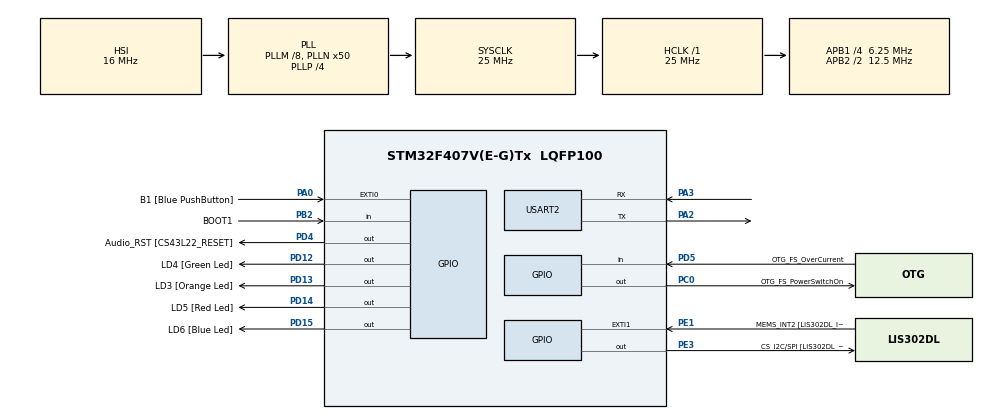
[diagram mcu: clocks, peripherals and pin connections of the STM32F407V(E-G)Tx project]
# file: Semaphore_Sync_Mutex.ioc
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Mcu.Family=STM32F4
Mcu.Name=STM32F407V(E-G)Tx
Mcu.Package=LQFP100
NVIC.PriorityGroup=NVIC_PRIORITYGROUP_4
NVIC.TIM6_DAC_IRQn=true\:0\:0\:false\:false\:true\:false\:true\:true
NVIC.TimeBase=TIM6_DAC_IRQn
NVIC.TimeBaseIP=TIM6
NVIC.USART2_IRQn=true\:6\:0\:true\:false\:true\:true\:true\:true
PA0-WKUP.GPIO_Label=B1 [Blue PushButton]
PA0-WKUP.Signal=GPXTI0
PA10.GPIO_Label=OTG_FS_ID
PA10.GPIO_Mode=GPIO_MODE_AF_PP
PA10.GPIO_PuPd=GPIO_NOPULL
PA10.GPIO_Speed=GPIO_SPEED_FREQ_LOW
PA10.Signal=USB_OTG_FS_ID
PA11.GPIO_Label=OTG_FS_DM
PA11.GPIO_Mode=GPIO_MODE_AF_PP
PA11.GPIO_PuPd=GPIO_NOPULL
PA11.GPIO_Speed=GPIO_SPEED_FREQ_LOW
PA11.Signal=USB_OTG_FS_DM
PA12.GPIO_Label=OTG_FS_DP
PA12.GPIO_Mode=GPIO_MODE_AF_PP
PA12.GPIO_PuPd=GPIO_NOPULL
PA12.GPIO_Speed=GPIO_SPEED_FREQ_LOW
PA12.Signal=USB_OTG_FS_DP
PA13.GPIO_Label=SWDIO
PA13.Signal=SYS_JTMS-SWDIO
PA14.GPIO_Label=SWCLK
PA14.Signal=SYS_JTCK-SWCLK
PA2.Mode=Asynchronous
PA2.Signal=USART2_TX
PA3.Mode=Asynchronous
PA3.Signal=USART2_RX
PA4.GPIO_Label=I2S3_WS [CS43L22_LRCK]
PA4.GPIO_Mode=GPIO_MODE_AF_PP
PA4.GPIO_PuPd=GPIO_NOPULL
PA4.GPIO_Speed=GPIO_SPEED_FREQ_LOW
PA4.Signal=I2S3_WS
PA5.GPIO_Label=SPI1_SCK [LIS302DL_SCL/SPC]
PA5.GPIO_Mode=GPIO_MODE_AF_PP
PA5.GPIO_PuPd=GPIO_NOPULL
PA5.GPIO_Speed=GPIO_SPEED_FREQ_LOW
PA5.Signal=SPI1_SCK
PA6.GPIO_Label=SPI1_MISO [LIS302DL_SDO]
PA6.GPIO_Mode=GPIO_MODE_AF_PP
PA6.GPIO_PuPd=GPIO_NOPULL
PA6.GPIO_Speed=GPIO_SPEED_FREQ_LOW
PA6.Signal=SPI1_MISO
PA7.GPIO_Label=SPI1_MOSI [LIS302DL_SDA/SDI/SDO]
PA7.GPIO_Mode=GPIO_MODE_AF_PP
PA7.GPIO_PuPd=GPIO_NOPULL
PA7.GPIO_Speed=GPIO_SPEED_FREQ_LOW
PA7.Signal=SPI1_MOSI
PA9.GPIO_Label=VBUS_FS
PA9.GPIO_Mode=GPIO_MODE_INPUT
PA9.GPIO_PuPd=GPIO_NOPULL
PA9.Signal=USB_OTG_FS_VBUS
PB10.GPIO_Label=CLK_IN [MP45DT02_CLK]
PB10.GPIO_Mode=GPIO_MODE_AF_PP
PB10.GPIO_PuPd=GPIO_NOPULL
PB10.GPIO_Speed=GPIO_SPEED_FREQ_LOW
PB10.Signal=I2S2_CK
PB2.GPIO_Label=BOOT1
PB2.GPIO_Mode=GPIO_MODE_INPUT
PB2.GPIO_PuPd=GPIO_NOPULL
PB2.Signal=GPIO_Input
PB3.GPIO_Label=SWO
PB3.Signal=SYS_JTDO-SWO
PB6.GPIO_Label=Audio_SCL [CS43L22_SCL]
PB6.GPIO_Mode=GPIO_MODE_AF_OD
PB6.GPIO_PuPd=GPIO_NOPULL
PB6.GPIO_Speed=GPIO_SPEED_FREQ_LOW
PB6.Signal=I2C1_SCL
PB9.GPIO_Label=Audio_SDA [CS43L22_SDA]
PB9.GPIO_Mode=GPIO_MODE_AF_OD
PB9.GPIO_PuPd=GPIO_NOPULL
PB9.GPIO_Speed=GPIO_SPEED_FREQ_LOW
PB9.Signal=I2C1_SDA
PC0.GPIO_Label=OTG_FS_PowerSwitchOn
PC0.GPIO_PuPd=GPIO_NOPULL
PC0.GPIO_Speed=GPIO_SPEED_FREQ_LOW
PC0.PinState=GPIO_PIN_SET
PC0.Signal=GPIO_Output
PC10.GPIO_Label=I2S3_SCK [CS43L22_SCLK]
PC10.GPIO_Mode=GPIO_MODE_AF_PP
PC10.GPIO_PuPd=GPIO_NOPULL
PC10.GPIO_Speed=GPIO_SPEED_FREQ_LOW
PC10.Signal=I2S3_CK
PC12.GPIO_Label=I2S3_SD [CS43L22_SDIN]
PC12.GPIO_Mode=GPIO_MODE_AF_PP
PC12.GPIO_PuPd=GPIO_NOPULL
PC12.GPIO_Speed=GPIO_SPEED_FREQ_LOW
PC12.Signal=I2S3_SD
PC14-OSC32_IN.GPIO_Label=PC14-OSC32_IN
PC14-OSC32_IN.Signal=RCC_OSC32_IN
PC15-OSC32_OUT.GPIO_Label=PC15-OSC32_OUT
PC15-OSC32_OUT.Signal=RCC_OSC32_OUT
PC3.GPIO_Label=PDM_OUT [MP45DT02_DOUT]
PC3.GPIO_Mode=GPIO_MODE_AF_PP
PC3.GPIO_PuPd=GPIO_NOPULL
PC3.GPIO_Speed=GPIO_SPEED_FREQ_LOW
PC3.Signal=I2S2_SD
PC7.GPIO_Label=I2S3_MCK [CS43L22_MCLK]
PC7.GPIO_Mode=GPIO_MODE_AF_PP
PC7.GPIO_PuPd=GPIO_NOPULL
PC7.GPIO_Speed=GPIO_SPEED_FREQ_LOW
PC7.Signal=I2S3_MCK
PD12.GPIO_Label=LD4 [Green Led]
PD12.GPIO_PuPd=GPIO_NOPULL
PD12.GPIO_Speed=GPIO_SPEED_FREQ_LOW
PD12.Signal=GPIO_Output
PD13.GPIO_Label=LD3 [Orange Led]
PD13.GPIO_PuPd=GPIO_NOPULL
PD13.GPIO_Speed=GPIO_SPEED_FREQ_LOW
PD13.Signal=GPIO_Output
PD14.GPIO_Label=LD5 [Red Led]
PD14.GPIO_PuPd=GPIO_NOPULL
PD14.GPIO_Speed=GPIO_SPEED_FREQ_LOW
PD14.Signal=GPIO_Output
PD15.GPIO_Label=LD6 [Blue Led]
PD15.GPIO_PuPd=GPIO_NOPULL
PD15.GPIO_Speed=GPIO_SPEED_FREQ_LOW
PD15.Signal=GPIO_Output
PD4.GPIO_Label=Audio_RST [CS43L22_RESET]
PD4.GPIO_PuPd=GPIO_NOPULL
PD4.GPIO_Speed=GPIO_SPEED_FREQ_LOW
PD4.Signal=GPIO_Output
PD5.GPIO_Label=OTG_FS_OverCurrent
PD5.GPIO_Mode=GPIO_MODE_INPUT
PD5.GPIO_PuPd=GPIO_NOPULL
PD5.Signal=GPIO_Input
PE1.GPIO_Label=MEMS_INT2 [LIS302DL_INT2]
PE1.GPIO_ModeDefaultEXTI=GPIO_MODE_EVT_RISING
PE1.GPIO_PuPd=GPIO_NOPULL
PE1.Signal=GPXTI1
PE3.GPIO_Label=CS_I2C/SPI [LIS302DL_CS_I2C/SPI]
PE3.GPIO_PuPd=GPIO_NOPULL
PE3.GPIO_Speed=GPIO_SPEED_FREQ_LOW
PE3.Signal=GPIO_Output
PH0-OSC_IN.GPIO_Label=PH0-OSC_IN
PH0-OSC_IN.Signal=RCC_OSC_IN
PH1-OSC_OUT.GPIO_Label=PH1-OSC_OUT
PH1-OSC_OUT.Signal=RCC_OSC_OUT
ProjectManager.HeapSize=0x200
ProjectManager.StackSize=0x400
ProjectManager.TargetToolchain=STM32CubeIDE
RCC.48MHZClocksFreq_Value=14285714.285714285
RCC.AHBFreq_Value=25000000
RCC.APB1CLKDivider=RCC_HCLK_DIV4
RCC.APB1Freq_Value=6250000
RCC.APB1TimFreq_Value=12500000
RCC.APB2CLKDivider=RCC_HCLK_DIV2
RCC.APB2Freq_Value=12500000
RCC.APB2TimFreq_Value=25000000
RCC.CortexFreq_Value=25000000
RCC.HCLKFreq_Value=25000000
RCC.HSE_VALUE=8000000
RCC.HSI_VALUE=16000000
RCC.LSE_VALUE=32768
RCC.PLLM=8
RCC.PLLN=50
RCC.PLLP=RCC_PLLP_DIV4
RCC.PLLQ=7
RCC.SYSCLKFreq_VALUE=25000000
RCC.SYSCLKSource=RCC_SYSCLKSOURCE_PLLCLK
RCC.VCOOutputFreq_Value=100000000
USART2.VirtualMode=VM_ASYNC
VP_SYS_VS_tim6.Mode=TIM6
board=STM32F407G-DISC1

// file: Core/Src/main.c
/* USER CODE BEGIN Header */
/**
  ******************************************************************************
  * @file           : main.c
  * @brief          : Main program body
  ******************************************************************************
  * @attention
  *
  * Copyright (c) 2025 STMicroelectronics.
  * All rights reserved.
  *
  * This software is licensed under terms that can be found in the LICENSE file
  * in the root directory of this software component.
  * If no LICENSE file comes with this software, it is provided AS-IS.
  *
  ******************************************************************************
  */
/* USER CODE END Header */
#include "main.h"

/* USER CODE BEGIN Includes */
#include<stdio.h>
#include<stdlib.h>
#include<string.h>
#include "FreeRTOS.h"
#include "task.h"
#include "semphr.h"
#include "queue.h"
/* USER CODE END Includes */

UART_HandleTypeDef huart2;

/* USER CODE BEGIN PV */
#define DWT_CTRL (*(volatile uint32_t*)0xE0001000)

xTaskHandle task1_handle;
xTaskHandle task2_handle;

xSemaphoreHandle bin_smp_handle;

const char* task1_msg = "This is task 1 running\n";
const char* task2_msg = "This is task 2 running\n";

const char* demo_msg = "Demo of Mutual Exclusion by Binary Semaphore\n";

const char* fail_msg = "Semaphore creation fails\n";

/* USER CODE END PV */

void SystemClock_Config(void);
static void MX_GPIO_Init(void);
static void MX_USART2_UART_Init(void);
/* USER CODE BEGIN PFP */
static void task1_handler(void* parameters);
static void task2_handler(void* parameters);

static void printmsg(const char* msg);
/* USER CODE END PFP */

int main(void)
{

  /* MCU Configuration--------------------------------------------------------*/

  /* Reset of all peripherals, Initializes the Flash interface and the Systick. */
  HAL_Init();

  /* USER CODE BEGIN Init */
  BaseType_t status;
  /* USER CODE END Init */

  /* Configure the system clock */
  SystemClock_Config();

  /* Initialize all configured peripherals */
  MX_GPIO_Init();
  MX_USART2_UART_Init();
  /* USER CODE BEGIN 2 */
  DWT_CTRL |= (1 << 0);

  // create binary semaphore
  printmsg(demo_msg);

  vSemaphoreCreateBinary(bin_smp_handle);

  if(bin_smp_handle != NULL)
  {
  	status  = xTaskCreate(task1_handler, "Task1", 500, "This is task 1", 1, &task1_handle);
		configASSERT(status == pdPASS);

  	status  = xTaskCreate(task2_handler, "Task2", 500, "This is task 2", 1, &task2_handle);
		configASSERT(status == pdPASS);

		xSemaphoreGive(bin_smp_handle);

	  vTaskStartScheduler();
  }

  printmsg(fail_msg);

  /* USER CODE END 2 */

  /* Infinite loop */
  while (1)
  {

  }
}

void SystemClock_Config(void)
{
  RCC_OscInitTypeDef RCC_OscInitStruct = {0};
  RCC_ClkInitTypeDef RCC_ClkInitStruct = {0};

  /** Configure the main internal regulator output voltage
  */
  __HAL_RCC_PWR_CLK_ENABLE();
  __HAL_PWR_VOLTAGESCALING_CONFIG(PWR_REGULATOR_VOLTAGE_SCALE1);

  /** Initializes the RCC Oscillators according to the specified parameters
  * in the RCC_OscInitTypeDef structure.
  */
  RCC_OscInitStruct.OscillatorType = RCC_OSCILLATORTYPE_HSI;
  RCC_OscInitStruct.HSIState = RCC_HSI_ON;
  RCC_OscInitStruct.HSICalibrationValue = RCC_HSICALIBRATION_DEFAULT;
  RCC_OscInitStruct.PLL.PLLState = RCC_PLL_ON;
  RCC_OscInitStruct.PLL.PLLSource = RCC_PLLSOURCE_HSI;
  RCC_OscInitStruct.PLL.PLLM = 8;
  RCC_OscInitStruct.PLL.PLLN = 50;
  RCC_OscInitStruct.PLL.PLLP = RCC_PLLP_DIV4;
  RCC_OscInitStruct.PLL.PLLQ = 7;
  if (HAL_RCC_OscConfig(&RCC_OscInitStruct) != HAL_OK)
  {
    Error_Handler();
  }

  /** Initializes the CPU, AHB and APB buses clocks
  */
  RCC_ClkInitStruct.ClockType = RCC_CLOCKTYPE_HCLK|RCC_CLOCKTYPE_SYSCLK
                              |RCC_CLOCKTYPE_PCLK1|RCC_CLOCKTYPE_PCLK2;
  RCC_ClkInitStruct.SYSCLKSource = RCC_SYSCLKSOURCE_PLLCLK;
  RCC_ClkInitStruct.AHBCLKDivider = RCC_SYSCLK_DIV1;
  RCC_ClkInitStruct.APB1CLKDivider = RCC_HCLK_DIV4;
  RCC_ClkInitStruct.APB2CLKDivider = RCC_HCLK_DIV2;

  if (HAL_RCC_ClockConfig(&RCC_ClkInitStruct, FLASH_LATENCY_0) != HAL_OK)
  {
    Error_Handler();
  }
}

static void MX_USART2_UART_Init(void)
{

  huart2.Instance = USART2;
  huart2.Init.BaudRate = 115200;
  huart2.Init.WordLength = UART_WORDLENGTH_8B;
  huart2.Init.StopBits = UART_STOPBITS_1;
  huart2.Init.Parity = UART_PARITY_NONE;
  huart2.Init.Mode = UART_MODE_TX_RX;
  huart2.Init.HwFlowCtl = UART_HWCONTROL_NONE;
  huart2.Init.OverSampling = UART_OVERSAMPLING_16;
  if (HAL_UART_Init(&huart2) != HAL_OK)
  {
    Error_Handler();
  }

}

static void MX_GPIO_Init(void)
{
  GPIO_InitTypeDef GPIO_InitStruct = {0};

  /* GPIO Ports Clock Enable */
  __HAL_RCC_GPIOE_CLK_ENABLE();
  __HAL_RCC_GPIOC_CLK_ENABLE();
  __HAL_RCC_GPIOH_CLK_ENABLE();
  __HAL_RCC_GPIOA_CLK_ENABLE();
  __HAL_RCC_GPIOB_CLK_ENABLE();
  __HAL_RCC_GPIOD_CLK_ENABLE();

  /*Configure GPIO pin Output Level */
  HAL_GPIO_WritePin(CS_I2C_SPI_GPIO_Port, CS_I2C_SPI_Pin, GPIO_PIN_RESET);

  /*Configure GPIO pin Output Level */
  HAL_GPIO_WritePin(OTG_FS_PowerSwitchOn_GPIO_Port, OTG_FS_PowerSwitchOn_Pin, GPIO_PIN_SET);

  /*Configure GPIO pin Output Level */
  HAL_GPIO_WritePin(GPIOD, LD4_Pin|LD3_Pin|LD5_Pin|LD6_Pin
                          |Audio_RST_Pin, GPIO_PIN_RESET);

  /*Configure GPIO pin : CS_I2C_SPI_Pin */
  GPIO_InitStruct.Pin = CS_I2C_SPI_Pin;
  GPIO_InitStruct.Mode = GPIO_MODE_OUTPUT_PP;
  GPIO_InitStruct.Pull = GPIO_NOPULL;
  GPIO_InitStruct.Speed = GPIO_SPEED_FREQ_LOW;
  HAL_GPIO_Init(CS_I2C_SPI_GPIO_Port, &GPIO_InitStruct);

  /*Configure GPIO pin : OTG_FS_PowerSwitchOn_Pin */
  GPIO_InitStruct.Pin = OTG_FS_PowerSwitchOn_Pin;
  GPIO_InitStruct.Mode = GPIO_MODE_OUTPUT_PP;
  GPIO_InitStruct.Pull = GPIO_NOPULL;
  GPIO_InitStruct.Speed = GPIO_SPEED_FREQ_LOW;
  HAL_GPIO_Init(OTG_FS_PowerSwitchOn_GPIO_Port, &GPIO_InitStruct);

  /*Configure GPIO pin : PDM_OUT_Pin */
  GPIO_InitStruct.Pin = PDM_OUT_Pin;
  GPIO_InitStruct.Mode = GPIO_MODE_AF_PP;
  GPIO_InitStruct.Pull = GPIO_NOPULL;
  GPIO_InitStruct.Speed = GPIO_SPEED_FREQ_LOW;
  GPIO_InitStruct.Alternate = GPIO_AF5_SPI2;
  HAL_GPIO_Init(PDM_OUT_GPIO_Port, &GPIO_InitStruct);

  /*Configure GPIO pin : B1_Pin */
  GPIO_InitStruct.Pin = B1_Pin;
  GPIO_InitStruct.Mode = GPIO_MODE_IT_RISING;
  GPIO_InitStruct.Pull = GPIO_NOPULL;
  HAL_GPIO_Init(B1_GPIO_Port, &GPIO_InitStruct);

  /*Configure GPIO pin : I2S3_WS_Pin */
  GPIO_InitStruct.Pin = I2S3_WS_Pin;
  GPIO_InitStruct.Mode = GPIO_MODE_AF_PP;
  GPIO_InitStruct.Pull = GPIO_NOPULL;
  GPIO_InitStruct.Speed = GPIO_SPEED_FREQ_LOW;
  GPIO_InitStruct.Alternate = GPIO_AF6_SPI3;
  HAL_GPIO_Init(I2S3_WS_GPIO_Port, &GPIO_InitStruct);

  /*Configure GPIO pins : SPI1_SCK_Pin SPI1_MISO_Pin SPI1_MOSI_Pin */
  GPIO_InitStruct.Pin = SPI1_SCK_Pin|SPI1_MISO_Pin|SPI1_MOSI_Pin;
  GPIO_InitStruct.Mode = GPIO_MODE_AF_PP;
  GPIO_InitStruct.Pull = GPIO_NOPULL;
  GPIO_InitStruct.Speed = GPIO_SPEED_FREQ_LOW;
  GPIO_InitStruct.Alternate = GPIO_AF5_SPI1;
  HAL_GPIO_Init(GPIOA, &GPIO_InitStruct);

  /*Configure GPIO pin : BOOT1_Pin */
  GPIO_InitStruct.Pin = BOOT1_Pin;
  GPIO_InitStruct.Mode = GPIO_MODE_INPUT;
  GPIO_InitStruct.Pull = GPIO_NOPULL;
  HAL_GPIO_Init(BOOT1_GPIO_Port, &GPIO_InitStruct);

  /*Configure GPIO pin : CLK_IN_Pin */
  GPIO_InitStruct.Pin = CLK_IN_Pin;
  GPIO_InitStruct.Mode = GPIO_MODE_AF_PP;
  GPIO_InitStruct.Pull = GPIO_NOPULL;
  GPIO_InitStruct.Speed = GPIO_SPEED_FREQ_LOW;
  GPIO_InitStruct.Alternate = GPIO_AF5_SPI2;
  HAL_GPIO_Init(CLK_IN_GPIO_Port, &GPIO_InitStruct);

  /*Configure GPIO pins : LD4_Pin LD3_Pin LD5_Pin LD6_Pin
                           Audio_RST_Pin */
  GPIO_InitStruct.Pin = LD4_Pin|LD3_Pin|LD5_Pin|LD6_Pin
                          |Audio_RST_Pin;
  GPIO_InitStruct.Mode = GPIO_MODE_OUTPUT_PP;
  GPIO_InitStruct.Pull = GPIO_NOPULL;
  GPIO_InitStruct.Speed = GPIO_SPEED_FREQ_LOW;
  HAL_GPIO_Init(GPIOD, &GPIO_InitStruct);

  /*Configure GPIO pins : I2S3_MCK_Pin I2S3_SCK_Pin I2S3_SD_Pin */
  GPIO_InitStruct.Pin = I2S3_MCK_Pin|I2S3_SCK_Pin|I2S3_SD_Pin;
  GPIO_InitStruct.Mode = GPIO_MODE_AF_PP;
  GPIO_InitStruct.Pull = GPIO_NOPULL;
  GPIO_InitStruct.Speed = GPIO_SPEED_FREQ_LOW;
  GPIO_InitStruct.Alternate = GPIO_AF6_SPI3;
  HAL_GPIO_Init(GPIOC, &GPIO_InitStruct);

  /*Configure GPIO pin : VBUS_FS_Pin */
  GPIO_InitStruct.Pin = VBUS_FS_Pin;
  GPIO_InitStruct.Mode = GPIO_MODE_INPUT;
  GPIO_InitStruct.Pull = GPIO_NOPULL;
  HAL_GPIO_Init(VBUS_FS_GPIO_Port, &GPIO_InitStruct);

  /*Configure GPIO pins : OTG_FS_ID_Pin OTG_FS_DM_Pin OTG_FS_DP_Pin */
  GPIO_InitStruct.Pin = OTG_FS_ID_Pin|OTG_FS_DM_Pin|OTG_FS_DP_Pin;
  GPIO_InitStruct.Mode = GPIO_MODE_AF_PP;
  GPIO_InitStruct.Pull = GPIO_NOPULL;
  GPIO_InitStruct.Speed = GPIO_SPEED_FREQ_LOW;
  GPIO_InitStruct.Alternate = GPIO_AF10_OTG_FS;
  HAL_GPIO_Init(GPIOA, &GPIO_InitStruct);

  /*Configure GPIO pin : OTG_FS_OverCurrent_Pin */
  GPIO_InitStruct.Pin = OTG_FS_OverCurrent_Pin;
  GPIO_InitStruct.Mode = GPIO_MODE_INPUT;
  GPIO_InitStruct.Pull = GPIO_NOPULL;
  HAL_GPIO_Init(OTG_FS_OverCurrent_GPIO_Port, &GPIO_InitStruct);

  /*Configure GPIO pins : Audio_SCL_Pin Audio_SDA_Pin */
  GPIO_InitStruct.Pin = Audio_SCL_Pin|Audio_SDA_Pin;
  GPIO_InitStruct.Mode = GPIO_MODE_AF_OD;
  GPIO_InitStruct.Pull = GPIO_NOPULL;
  GPIO_InitStruct.Speed = GPIO_SPEED_FREQ_LOW;
  GPIO_InitStruct.Alternate = GPIO_AF4_I2C1;
  HAL_GPIO_Init(GPIOB, &GPIO_InitStruct);

  /*Configure GPIO pin : MEMS_INT2_Pin */
  GPIO_InitStruct.Pin = MEMS_INT2_Pin;
  GPIO_InitStruct.Mode = GPIO_MODE_EVT_RISING;
  GPIO_InitStruct.Pull = GPIO_NOPULL;
  HAL_GPIO_Init(MEMS_INT2_GPIO_Port, &GPIO_InitStruct);

}

/* USER CODE BEGIN 4 */
static void printmsg(const char* msg)
{
	HAL_UART_Transmit(&huart2, (uint8_t*)msg, strlen(msg), HAL_MAX_DELAY);
}

static void task1_handler(void* parameters)
{
	while(1)
	{
		xSemaphoreTake(bin_smp_handle, portMAX_DELAY);
		printmsg(task1_msg);

		xSemaphoreGive(bin_smp_handle);

		vTaskDelay(500 / portTICK_RATE_MS);
	}
}

static void task2_handler(void* parameters)
{
	while(1)
	{
		xSemaphoreTake(bin_smp_handle, portMAX_DELAY);
		printmsg(task2_msg);

		xSemaphoreGive(bin_smp_handle);

		vTaskDelay(500 / portTICK_RATE_MS);
	}
}
/* USER CODE END 4 */

void HAL_TIM_PeriodElapsedCallback(TIM_HandleTypeDef *htim)
{
  if (htim->Instance == TIM6) {
    HAL_IncTick();
  }
}

void Error_Handler(void)
{
  __disable_irq();
  while (1)
  {
  }
}
